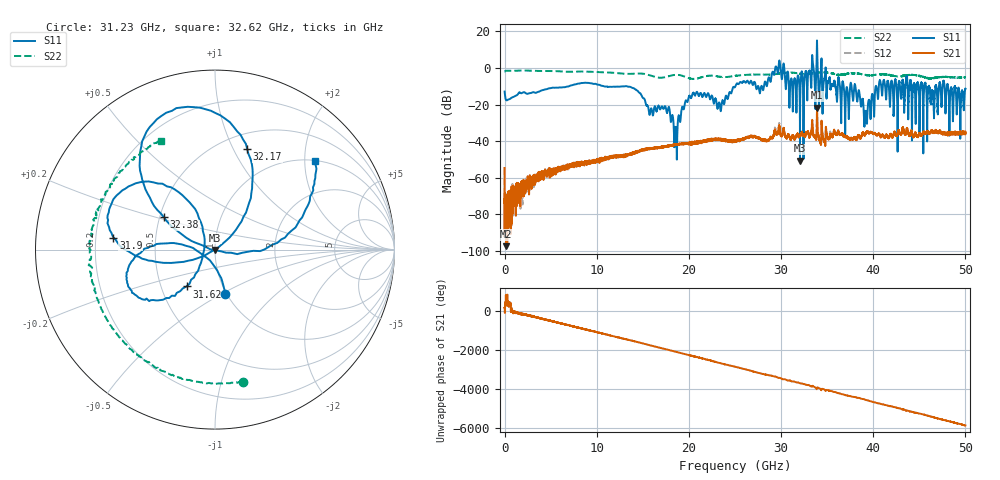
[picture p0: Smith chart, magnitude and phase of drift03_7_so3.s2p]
!Created with skrf (http://scikit-rf.org).
# Hz S RI R 50.0
!freq ReS11 ImS11 ReS21 ImS21 ReS12 ImS12 ReS22 ImS22
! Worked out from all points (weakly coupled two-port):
!   10001 points, 300 kHz to 50 GHz, reference 50 ohm
!   highest |S21| = -21.71 dB at 33.9 GHz (marker M1); lowest = -97.3 dB at 175.3 MHz (marker M2)
!   lowest |S11| = -50.6 dB at 32.05 GHz (marker M3), VSWR 1.01, Z = 49.7 - j0.142 ohm
!   |S11| at or under -10 dB: start of sweep to 6.949 GHz; 13.31 GHz to 25.04 GHz (11.73 GHz wide, 61.2 % of centre); 38.07 GHz to 40.26 GHz (2.192 GHz wide, 5.6 % of centre) (the widest 3 of 64)
!   |S22| runs from -5.9 to -1.3 dB; largest |S21 - S12| = 0.0075
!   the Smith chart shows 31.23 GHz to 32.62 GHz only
!   S11 on the Smith chart (normalised r, x): 31.23 GHz: 0.99, -0.52; 31.62 GHz: 0.67, -0.30; 31.9 GHz: 0.28, +0.05; 32.17 GHz: 0.66, +1.14; 32.38 GHz: 0.53, +0.21; 32.62 GHz: 1.02, +2.25
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300000  -0.2073 -0.0949  -0.00185 0.000251  0.000607 0.00181  -0.7657 -0.183
1.75299e8  -0.1167 0.0629  2.31e-06 -1.34e-05  -8.85e-05 -8.58e-05  -0.7968 0.2847
1.530291e9  0.2032 0.0457  -4.11e-05 -0.000241  -0.000106 -0.000436  0.8483 0.0848
3.160281e9  -0.2187 -0.00797  -5.89e-05 0.00115  0.000167 0.000978  -0.8445 -0.0245
4.665272e9  0.2636 0.0608  7.32e-06 -0.00132  -0.000279 -0.0014  0.8185 0.1416
8.33525e9  0.2836 -0.2678  -0.00264 -0.000927  -0.00243 -0.00079  0.6001 -0.5373
9.585242e9  -0.3711 -0.0405  0.0014 0.00263  0.00131 0.00261  -0.7867 -0.0777
1.123523e10  0.3062 0.0287  -0.00228 -0.00266  -0.00234 -0.00264  0.7564 0.0351
1.66702e10  0.0536 0.0757  0.00451 -0.00501  0.00466 -0.00476  -0.3547 0.4214
2.500015e10  -0.2978 -0.0469  0.0073 0.00628  0.00775 0.00637  -0.1887 -0.5834
2.965012e10  0.3163 0.63  -0.0162 -0.00705  -0.0155 -0.00601  0.0454 0.6965
3.122511e10  0.0562 -0.2453  0.0139 0.00216  0.0139 0.00243  0.1536 -0.7374
3.161511e10  -0.1585 -0.2053  0.0112 -0.00775  0.0111 -0.00802  -0.367 -0.6268
3.189511e10  -0.5655 0.0672  0.00835 -0.0113  0.00787 -0.0104  -0.6339 -0.3304
3.205011e10  -0.00258 -0.00143  0.00185 -0.0142  0.0018 -0.0149  -0.693 -0.1066
3.216511e10  0.1794 0.5606  -0.00175 -0.0147  -0.00146 -0.0161  -0.6878 0.0719
3.237511e10  -0.2843 0.1795  -0.00609 -0.0133  -0.00608 -0.0134  -0.5733 0.3669
3.26201e10  0.5585 0.4918  -0.0112 -0.00717  -0.0118 -0.00722  -0.3031 0.6074
3.33351e10  0.3906 -0.9806  -0.00469 0.0236  -0.00537 0.0232  0.6137 0.3642
3.39001e10  1.315 -5.4  0.0753 0.0327  0.0686 0.0312  0.6719 -0.3361
4.167005e10  -0.2101 0.2829  -0.0117 -0.00495  -0.0113 -0.00512  -0.6495 -0.0503
5e10  -0.1564 -0.2277  0.00147 -0.0166  0.00099 -0.0162  0.462 -0.3215
